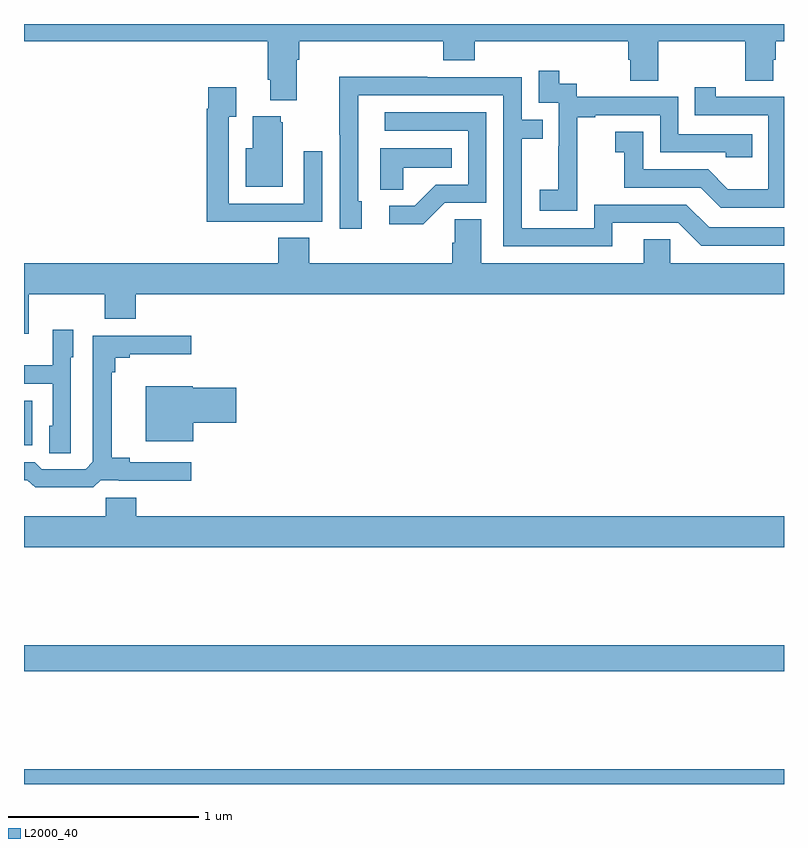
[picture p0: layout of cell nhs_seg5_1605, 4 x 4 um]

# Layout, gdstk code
import gdstk
lib = gdstk.Library(unit=1e-6, precision=1e-09)
def R(c, l, rs):  # rectangles x0, y0, x1, y1
    for r in rs: c.add(gdstk.rectangle(r[:2], r[2:], *l))
def P(c, l, *ps):  # polygons
    for p in ps: c.add(gdstk.Polygon(p, *l))
L2000_40 = (2000, 40)

nhs_seg5_1605 = lib.new_cell('nhs_seg5_1605')
R(nhs_seg5_1605, L2000_40, [(207,904.799,211,904.876), (207,905.392,211,905.528), (207,906.581,207.043,906.817)])
P(nhs_seg5_1605, L2000_40, [(208.435,908.612),(208.448,908.612),(208.448,908.708),(209.207,908.708),(209.207,908.609),(209.372,908.609),(209.372,908.708),(210.179,908.708),(210.179,908.61),(210.191,908.61),(210.191,908.5),(210.339,908.5),(210.339,908.708),(210.796,908.708),(210.796,908.5),(210.943,908.5),(210.943,908.61),(210.956,908.61),(210.956,908.708),(211,908.708),(211,908.799),(207,908.799),(207,908.708),(208.283,908.708),(208.283,908.506),(208.295,908.506),(208.295,908.399),(208.435,908.399)],
  [(209.913,908.023),(209.912,908.023),(209.912,908.307),(210.007,908.307),(210.007,908.319),(210.348,908.319),(210.348,908.124),(210.693,908.124),(210.693,908.097),(210.833,908.097),(210.833,908.22),(210.444,908.22),(210.444,908.415),(209.91,908.415),(209.91,908.484),(209.818,908.484),(209.818,908.554),(209.709,908.554),(209.709,908.385),(209.814,908.385),(209.814,908.156),(209.813,908.156),(209.813,907.927),(209.715,907.927),(209.715,907.817),(209.913,907.817)],
  [(210.097,907.752),(210.444,907.752),(210.564,907.632),(211,907.632),(211,907.728),(210.606,907.728),(210.486,907.848),(210,907.848),(210,907.725),(209.619,907.725),(209.619,908.194),(209.729,908.194),(209.729,908.295),(209.619,908.295),(209.619,908.52),(209.123,908.52),(209.123,908.522),(208.66,908.522),(208.66,908.215),(208.662,908.215),(208.662,907.722),(208.777,907.722),(208.777,907.866),(208.758,907.866),(208.758,908.424),(209.523,908.424),(209.523,907.629),(210.097,907.629)],
  [(208.253,907.758),(208.569,907.758),(208.569,908.128),(208.473,908.128),(208.473,907.854),(208.077,907.854),(208.077,908.311),(208.117,908.311),(208.117,908.467),(207.969,908.467),(207.969,908.354),(207.961,908.354),(207.961,907.757),(208.253,907.757)],
  [(211,908.415),(210.64,908.415),(210.64,908.467),(210.529,908.467),(210.529,908.319),(210.918,908.319),(210.918,907.93),(210.704,907.93),(210.6,908.034),(210.258,908.034),(210.258,908.233),(210.111,908.233),(210.111,908.123),(210.16,908.123),(210.16,907.938),(210.563,907.938),(210.668,907.833),(211,907.833)],
  [(209.214,907.857),(209.433,907.857),(209.433,908.334),(208.899,908.334),(208.899,908.238),(209.337,908.238),(209.337,907.953),(209.168,907.953),(209.057,907.842),(208.923,907.842),(208.923,907.745),(209.101,907.745)],
  [(208.363,908.283),(208.352,908.283),(208.352,908.314),(208.205,908.314),(208.205,908.146),(208.166,908.146),(208.166,907.943),(208.363,907.943)],
  [(208.995,908.042),(209.252,908.042),(209.252,908.146),(208.874,908.146),(208.874,907.927),(208.995,907.927)],
  [(207.025,907.376),(207.425,907.376),(207.425,907.248),(207.589,907.248),(207.589,907.376),(211,907.376),(211,907.54),(210.402,907.54),(210.402,907.667),(210.263,907.667),(210.263,907.54),(209.407,907.54),(209.407,907.772),(209.268,907.772),(209.268,907.649),(209.255,907.649),(209.255,907.54),(208.502,907.54),(208.502,907.673),(208.337,907.673),(208.337,907.54),(207,907.54),(207,907.17),(207.025,907.17)],
  [(207.246,907.044),(207.259,907.044),(207.259,907.189),(207.15,907.189),(207.15,907.003),(207,907.003),(207,906.906),(207.15,906.906),(207.15,906.684),(207.134,906.684),(207.134,906.541),(207.246,906.541)],
  [(207.405,906.399),(207.499,906.399),(207.499,906.395),(207.88,906.395),(207.88,906.492),(207.556,906.492),(207.556,906.515),(207.461,906.515),(207.461,906.965),(207.479,906.965),(207.479,907.042),(207.556,907.042),(207.556,907.061),(207.88,907.061),(207.88,907.158),(207.363,907.158),(207.363,906.495),(207.324,906.456),(207.093,906.456),(207.057,906.492),(207,906.492),(207,906.399),(207.018,906.399),(207.058,906.36),(207.365,906.36)],
  [(207.892,906.701),(208.117,906.701),(208.117,906.884),(207.888,906.884),(207.888,906.892),(207.641,906.892),(207.641,906.602),(207.892,906.602)],
  [(211,906.208),(207.59,906.208),(207.59,906.306),(207.43,906.306),(207.43,906.208),(207,906.208),(207,906.044),(211,906.044)])

lib.write_gds('nhs_seg5_1605.gds')
